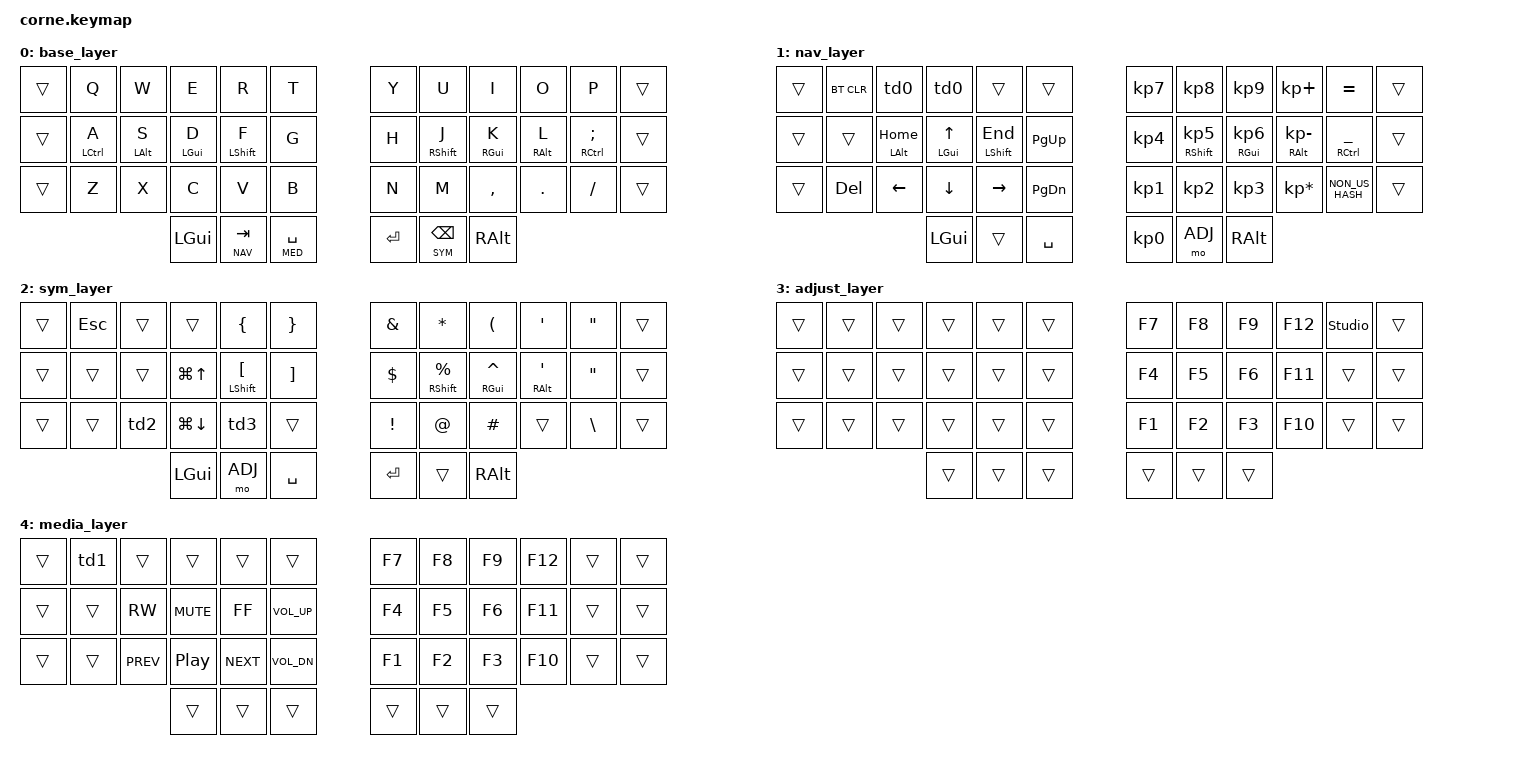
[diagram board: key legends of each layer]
/*
 * Copyright (c) 2020 The ZMK Contributors
 *
 * SPDX-License-Identifier: MIT
 */

 #include <behaviors.dtsi>
 #include <dt-bindings/zmk/keys.h>
 #include <dt-bindings/zmk/bt.h>
 #include <dt-bindings/zmk/outputs.h>
 
 #define BASE 0
 #define NAV  1
 #define SYM  2
 #define ADJ  3
 #define MED  4
 
 &mt {
   quick-tap-ms = <100>;
   global-quick-tap;
   flavor = "tap-preferred";
   tapping-term-ms = <170>;
 };

 
 / {
    behaviors {
        td0: tap_dance_0 {
            compatible = "zmk,behavior-tap-dance";
            label = "TAP_DANCE_0";
            #binding-cells = <0>;
            tapping-term-ms = <300>;
            bindings = <&bt BT_SEL 0>, <&bt BT_SEL 1>, <&bt BT_SEL 2>, <&bt BT_SEL 3>, <&bt BT_SEL 4>;
        };
        td1: tap_dance_1 {
            compatible = "zmk,behavior-tap-dance";
            label = "TAP_DANCE_1";
            #binding-cells = <0>;
            tapping-term-ms = <300>;
            bindings = <&sys_reset>, <&bootloader>;
        };
        td2: tap_dance_2 {
            compatible = "zmk,behavior-tap-dance";
            label = "TAP_DANCE_2";
            #binding-cells = <0>;
            tapping-term-ms = <300>;
            bindings = <&kp LG(LEFT)>, <&kp LS(LG(LEFT))>;
        };
        td3: tap_dance_3 {
            compatible = "zmk,behavior-tap-dance";
            label = "TAP_DANCE_3";
            #binding-cells = <0>;
            tapping-term-ms = <300>;
            bindings = <&kp LG(RIGHT)>, <&kp LS(LG(RIGHT))>;
        };
    };
    keymap {
                 compatible = "zmk,keymap";
 
                 base_layer {
 // -----------------------------------------------------------------------------------------
 // |      |  Q  |  W  |  E  |  R  |  T  |                               |  Y  |  U   |  I  |  O  |  P  |      |
 // |      |  A  |  S  |  D  |  F  |  G  |                               |  H  |  J   |  K  |  L  |  ;  |      |
 // |      |  Z  |  X  |  C  |  V  |  B  |                               |  N  |  M   |  ,  |  .  |  /  |      |
 //                    | GUI | LWR | SPC |                               | ENT | RSE  | ALT |
                         bindings = <
    &trans &kp Q         &kp W      &kp E      &kp R       &kp T            &kp Y   &kp U        &kp I      &kp O      &kp P                &trans
    &trans &mt LCTRL A   &mt LALT S &mt LGUI D &mt LSHFT F &kp G            &kp H   &mt RSHFT J  &mt RGUI K &mt RALT L &mt RCTRL SEMI       &trans
    &trans &kp Z         &kp X      &kp C      &kp V       &kp B            &kp N   &kp M        &kp COMMA  &kp DOT    &kp FSLH             &trans
                                    &kp LGUI   &lt NAV TAB &lt MED SPACE    &kp RET &lt SYM BSPC &kp RALT
                         >;
                 };
                 nav_layer {
 // -----------------------------------------------------------------------------------------
 // |      | BTClr | BTap | BTap |       |        |                           |  7  |  8  |  9  |  +  |  =  |      |
 // |      |       | HOME |  UP  |  END  | PG UP  |                           |  4  |  5  |  6  |  -  |  _  |      |
 // |      |  DEL  | LEFT | DOWN | RIGHT | PG DWN |                           |  1  |  2  |  3  |  *  |  #  |      |
 //                       | GUI  |       | SPC    |                           |  0  |     | ALT |
                         bindings = <
    &trans  &bt BT_CLR &td0          &td0         &trans        &trans         &kp KP_N7  &kp KP_N8       &kp KP_N9      &kp KP_PLUS       &kp EQUAL        &trans
    &trans  &trans     &mt LALT HOME &mt LGUI UP  &mt LSHFT END &kp PG_UP      &kp KP_N4  &mt RSHFT KP_N5 &mt RGUI KP_N6 &mt RALT KP_MINUS &mt RCTRL UNDER  &trans
    &trans  &kp DEL    &kp LEFT      &kp DOWN     &kp RIGHT     &kp PG_DN      &kp KP_N1  &kp KP_N2       &kp KP_N3      &kp KP_MULTIPLY   &kp NON_US_HASH  &trans
                                     &kp LGUI     &trans        &kp SPACE      &kp KP_N0  &mo ADJ         &kp RALT
                         >;
                 };
 
                 sym_layer {
 // -----------------------------------------------------------------------------------------
 // |      | ESC |     |     |  {  |  }  |                               |  &  |  *  |  (  |  '  |  "  |      |
 // |      |     |     |TV UP|  [  |  ]  |                               |  $  |  %  |  ^  |  '  |  "  |      |
 // |      |     |TV LF|TV DN|TV RT|     |                               |  !  |  @  |  £  |     |  \  |      |
 //                    | GUI |     | SPC |                               | ENT |     | ALT |
                         bindings = <
    &trans  &kp ESC &trans  &trans       &kp LBRC       &kp RBRC     &kp AMPS  &kp STAR          &kp LPAR        &kp SQT       &kp DQT  &trans
    &trans  &trans  &trans  &kp LG(UP)   &mt LSHFT LBKT &kp RBKT     &kp DLLR  &mt RSHFT PRCNT   &mt RGUI CARET  &mt RALT SQT  &kp DQT  &trans
    &trans  &trans  &td2    &kp LG(DOWN) &td3           &trans       &kp EXCL  &kp AT            &kp HASH        &trans        &kp BSLH &trans
                            &kp LGUI     &mo ADJ        &kp SPACE    &kp RET   &trans            &kp RALT
                         >;
                 };
 
                 adjust_layer {
 // -----------------------------------------------------------------------------------------
 // |      |      |     |     |     |     |                              |  F7  | F8 | F9 | F12 |STUD|      |
 // |      |      |     |     |     |     |                              |  F4  | F5 | F6 | F11 |    |      |
 // |      |      |     |     |     |     |                              |  F1  | F2 | F3 | F10 |    |      |
 //                     |     |     |     |                              |      |    |    |
                         bindings = <
     &trans &trans &trans &trans &trans &trans      &kp F7   &kp F8   &kp F9   &kp F12   &studio_unlock     &trans 
     &trans &trans &trans &trans &trans &trans      &kp F4   &kp F5   &kp F6   &kp F11   &trans             &trans 
     &trans &trans &trans &trans &trans &trans      &kp F1   &kp F2   &kp F3   &kp F10   &trans             &trans     
                          &trans &trans &trans      &trans   &trans   &trans
                         >;
                 };
 
                 media_layer {
 // -----------------------------------------------------------------------------------------
 // |      |RSTap |      |     |      |      |                            |  F7  | F8 | F9 | F12 |    |      |
 // |      |      |REWIND|MUTE |FFORWD| V UP |                            |  F4  | F5 | F6 | F11 |    |      |
 // |      |      |PREV  |PAUSE| NEXT | V DN |                            |  F1  | F2 | F3 | F10 |    |      |
 //                      |     |      |      |                            |      |    |    |
                         bindings = <
     &trans &td1   &trans     &trans     &trans      &trans               &kp F7   &kp F8   &kp F9      &kp F12     &trans &trans 
     &trans &trans &kp C_RW   &kp C_MUTE &kp C_FF    &kp C_VOL_UP         &kp F4   &kp F5   &kp F6      &kp F11     &trans &trans 
     &trans &trans &kp C_PREV &kp C_PP   &kp C_NEXT  &kp C_VOL_DN         &kp F1   &kp F2   &kp F3      &kp F10     &trans &trans     
                              &trans     &trans      &trans               &trans   &trans   &trans
                         >;
                 };
         };
 };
